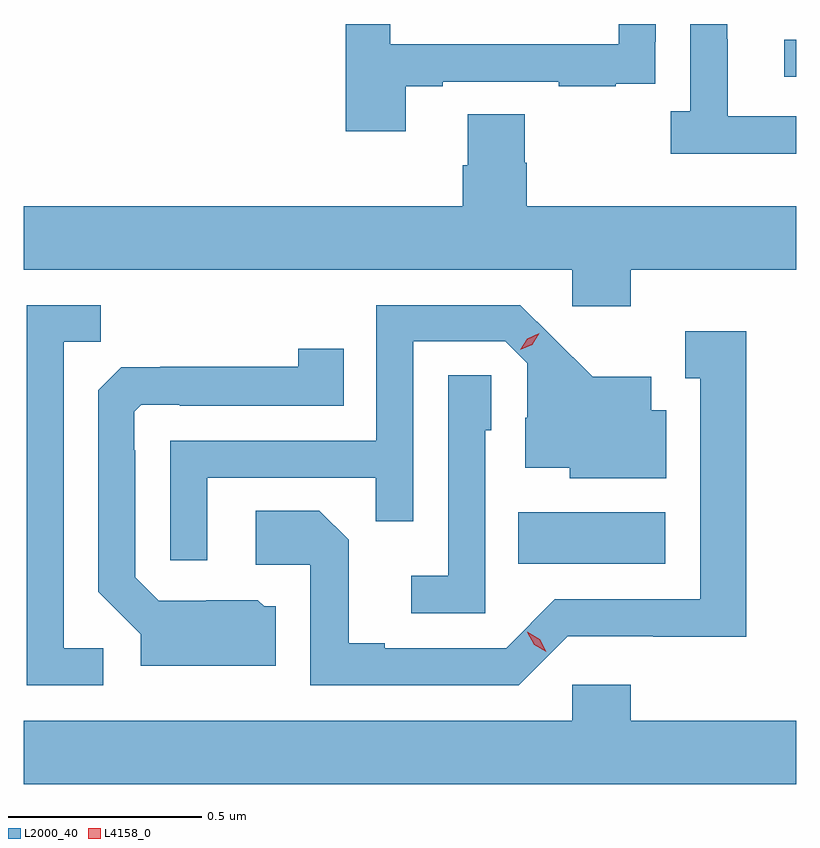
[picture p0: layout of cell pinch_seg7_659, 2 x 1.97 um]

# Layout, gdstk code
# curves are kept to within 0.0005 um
import gdstk
lib = gdstk.Library(unit=1e-6, precision=1e-09)
def R(c, l, rs):  # rectangles x0, y0, x1, y1
    for r in rs: c.add(gdstk.rectangle(r[:2], r[2:], *l))
def P(c, l, *ps):  # polygons
    for p in ps: c.add(gdstk.Polygon(p, *l))
L2000_40 = (2000, 40)
L4158_0 = (4158, 0)

pinch_seg7_659 = lib.new_cell('pinch_seg7_659')
R(pinch_seg7_659, L2000_40, [(123.826,1011.842,124.207,1011.976), (124.515,1013.103,124.546,1013.199)])
P(pinch_seg7_659, L2000_40, [(123.535,1013.079),(123.631,1013.079),(123.631,1013.091),(123.931,1013.091),(123.931,1013.079),(124.079,1013.079),(124.079,1013.085),(124.181,1013.085),(124.181,1013.194),(124.182,1013.194),(124.182,1013.24),(124.086,1013.24),(124.086,1013.187),(123.495,1013.187),(123.495,1013.24),(123.379,1013.24),(123.379,1012.962),(123.535,1012.962)],
  [(124.546,1013.001),(124.369,1013.001),(124.369,1013.201),(124.368,1013.201),(124.368,1013.24),(124.272,1013.24),(124.272,1013.014),(124.221,1013.014),(124.221,1012.904),(124.546,1012.904)],
  [(124.118,1012.604),(124.546,1012.604),(124.546,1012.768),(123.848,1012.768),(123.848,1012.881),(123.843,1012.881),(123.843,1013.006),(123.695,1013.006),(123.695,1012.874),(123.683,1012.874),(123.683,1012.768),(122.546,1012.768),(122.546,1012.604),(123.966,1012.604),(123.966,1012.509),(124.118,1012.509)],
  [(122.752,1011.624),(122.649,1011.624),(122.649,1012.417),(122.745,1012.417),(122.745,1012.512),(122.553,1012.512),(122.553,1011.528),(122.752,1011.528)],
  [(123.021,1012.065),(123.457,1012.065),(123.457,1011.952),(123.555,1011.952),(123.555,1012.419),(123.792,1012.419),(123.849,1012.362),(123.849,1012.22),(123.845,1012.22),(123.845,1012.091),(123.96,1012.091),(123.96,1012.064),(124.21,1012.064),(124.21,1012.24),(124.171,1012.24),(124.171,1012.327),(124.019,1012.327),(123.832,1012.512),(123.459,1012.512),(123.459,1012.161),(122.925,1012.161),(122.925,1011.852),(123.021,1011.852)],
  [(123.954,1011.654),(124.176,1011.654),(124.176,1011.653),(124.417,1011.653),(124.417,1012.444),(124.259,1012.444),(124.259,1012.323),(124.298,1012.323),(124.298,1011.75),(123.921,1011.75),(123.795,1011.624),(123.481,1011.624),(123.481,1011.637),(123.387,1011.637),(123.387,1011.904),(123.311,1011.98),(123.147,1011.98),(123.147,1011.84),(123.288,1011.84),(123.288,1011.528),(123.828,1011.528)],
  [(123.199,1011.732),(123.168,1011.732),(123.152,1011.748),(123.018,1011.748),(123.018,1011.747),(122.895,1011.747),(122.835,1011.807),(122.835,1012.136),(122.832,1012.136),(122.832,1012.236),(122.85,1012.254),(122.95,1012.254),(122.95,1012.251),(123.374,1012.251),(123.374,1012.399),(123.256,1012.399),(123.256,1012.352),(122.899,1012.352),(122.899,1012.351),(122.798,1012.351),(122.739,1012.292),(122.739,1011.77),(122.849,1011.66),(122.849,1011.578),(123.199,1011.578)],
  [(123.741,1012.188),(123.756,1012.188),(123.756,1012.331),(123.645,1012.331),(123.645,1011.811),(123.549,1011.811),(123.549,1011.714),(123.741,1011.714)],
  [(124.546,1011.436),(124.118,1011.436),(124.118,1011.529),(123.966,1011.529),(123.966,1011.436),(122.546,1011.436),(122.546,1011.272),(124.546,1011.272)])
P(pinch_seg7_659, L4158_0, [(123.899,1011.614),(123.868,1011.633),(123.85,1011.665),(123.85,1011.666),(123.85,1011.666),(123.882,1011.647),(123.899,1011.614),(123.899,1011.614)],
  [(123.832,1012.396),(123.832,1012.396),(123.85,1012.425),(123.881,1012.439),(123.881,1012.439),(123.881,1012.439),(123.863,1012.41),(123.832,1012.396)])

lib.write_gds('pinch_seg7_659.gds')
